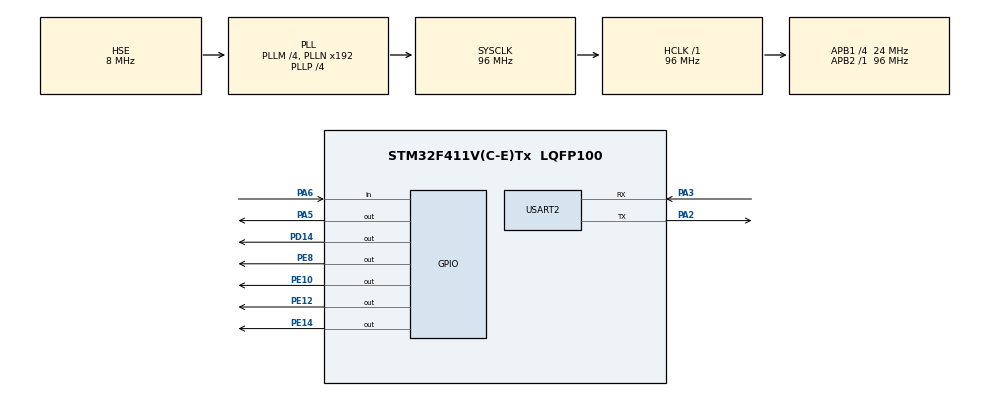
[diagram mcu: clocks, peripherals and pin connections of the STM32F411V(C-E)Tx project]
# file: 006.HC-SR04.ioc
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Mcu.Family=STM32F4
Mcu.Name=STM32F411V(C-E)Tx
Mcu.Package=LQFP100
NVIC.PriorityGroup=NVIC_PRIORITYGROUP_0
NVIC.USART2_IRQn=true\:0\:0\:false\:false\:true\:true\:true\:true
PA13.Mode=Serial_Wire
PA13.Signal=SYS_JTMS-SWDIO
PA14.Mode=Serial_Wire
PA14.Signal=SYS_JTCK-SWCLK
PA2.Mode=Asynchronous
PA2.Signal=USART2_TX
PA3.Mode=Asynchronous
PA3.Signal=USART2_RX
PA5.Signal=GPIO_Output
PA6.Signal=GPIO_Input
PC14-OSC32_IN.Mode=LSE-External-Oscillator
PC14-OSC32_IN.Signal=RCC_OSC32_IN
PC15-OSC32_OUT.Mode=LSE-External-Oscillator
PC15-OSC32_OUT.Signal=RCC_OSC32_OUT
PD14.Signal=GPIO_Output
PE10.Signal=GPIO_Output
PE12.Signal=GPIO_Output
PE14.Signal=GPIO_Output
PE8.Signal=GPIO_Output
PH0\ -\ OSC_IN.Mode=HSE-External-Oscillator
PH0\ -\ OSC_IN.Signal=RCC_OSC_IN
PH1\ -\ OSC_OUT.Mode=HSE-External-Oscillator
PH1\ -\ OSC_OUT.Signal=RCC_OSC_OUT
ProjectManager.HeapSize=0x200
ProjectManager.StackSize=0x400
ProjectManager.TargetToolchain=STM32CubeIDE
RCC.48MHZClocksFreq_Value=48000000
RCC.AHBFreq_Value=96000000
RCC.APB1CLKDivider=RCC_HCLK_DIV4
RCC.APB1Freq_Value=24000000
RCC.APB1TimFreq_Value=48000000
RCC.APB2Freq_Value=96000000
RCC.APB2TimFreq_Value=96000000
RCC.CortexFreq_Value=96000000
RCC.HCLKFreq_Value=96000000
RCC.HSE_VALUE=8000000
RCC.HSI_VALUE=16000000
RCC.PLLI2SM=5
RCC.PLLI2SN=200
RCC.PLLM=4
RCC.PLLP=RCC_PLLP_DIV4
RCC.PLLQ=8
RCC.PLLSourceVirtual=RCC_PLLSOURCE_HSE
RCC.SYSCLKFreq_VALUE=96000000
RCC.SYSCLKSource=RCC_SYSCLKSOURCE_PLLCLK
RCC.VCOOutputFreq_Value=384000000
TIM2.Period=65535
TIM2.Prescaler=83
USART2.VirtualMode=VM_ASYNC
VP_TIM2_VS_ClockSourceINT.Mode=Internal
board=STM32F411E-DISCO

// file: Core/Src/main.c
/* USER CODE BEGIN Header */
/**
  ******************************************************************************
  * @file           : main.c
  * @brief          : Main program body
  ******************************************************************************
  * @attention
  *
  * Copyright (c) 2025 STMicroelectronics.
  * All rights reserved.
  *
  * This software is licensed under terms that can be found in the LICENSE file
  * in the root directory of this software component.
  * If no LICENSE file comes with this software, it is provided AS-IS.
  *
  ******************************************************************************
  */
/* USER CODE END Header */
#include "main.h"

/* USER CODE BEGIN Includes */
#include "stm32f4xx_hal.h"
#include <stdio.h>
#include <string.h>
/* USER CODE END Includes */

/* USER CODE BEGIN PD */
#define TRIG_PIN GPIO_PIN_5
#define TRIG_PORT GPIOA

#define ECHO_PIN GPIO_PIN_6
#define ECHO_PORT GPIOA

#define LED_PIN GPIO_PIN_14
#define LED_PORT GPIOE

#define LED_PIN1 GPIO_PIN_12
#define LED_PORT GPIOE

#define LED_PIN2 GPIO_PIN_8
#define LED_PORT GPIOE

#define LED_PIN3 GPIO_PIN_10
#define LED_PORT GPIOE

#define BUZZER_PIN GPIO_PIN_14
#define BUZZER_PORT GPIOD
/* USER CODE END PD */

TIM_HandleTypeDef htim2;

UART_HandleTypeDef huart2;

void SystemClock_Config(void);
static void MX_GPIO_Init(void);
static void MX_TIM2_Init(void);
static void MX_USART2_UART_Init(void);
/* USER CODE BEGIN PFP */
float HCSR04_Read();
/* USER CODE END PFP */

int main(void)
{

  /* MCU Configuration--------------------------------------------------------*/

  /* Reset of all peripherals, Initializes the Flash interface and the Systick. */
  HAL_Init();

  /* Configure the system clock */
  SystemClock_Config();

  /* Initialize all configured peripherals */
  MX_GPIO_Init();
  MX_TIM2_Init();
  MX_USART2_UART_Init();
  /* USER CODE BEGIN 2 */
  HAL_TIM_Base_Start(&htim2);
  /* USER CODE END 2 */

  /* Infinite loop */
  while (1)
  {
	  float distance = HCSR04_Read();

	  	  	  // Tüm LED'leri kapat
	  	  	  HAL_GPIO_WritePin(LED_PORT, LED_PIN, GPIO_PIN_RESET);
	  	  	  HAL_GPIO_WritePin(LED_PORT, LED_PIN1, GPIO_PIN_RESET);
	  	  	  HAL_GPIO_WritePin(LED_PORT, LED_PIN2, GPIO_PIN_RESET);
	  	  	  HAL_GPIO_WritePin(LED_PORT, LED_PIN3, GPIO_PIN_RESET);
	  	  	  HAL_GPIO_WritePin(BUZZER_PORT, BUZZER_PIN, GPIO_PIN_RESET);

	  	  	  // Kademeli olarak yak
	  	  	  if (distance > 15.0 && distance <= 20.0) {
	  	  	      HAL_GPIO_WritePin(LED_PORT, LED_PIN, GPIO_PIN_SET); // 1. LED
	  	  	  }

	  	  	  if (distance > 10.0 && distance <= 15.0) {
	  	  	      HAL_GPIO_WritePin(LED_PORT, LED_PIN, GPIO_PIN_SET);     // 1
	  	  	      HAL_GPIO_WritePin(LED_PORT, LED_PIN1, GPIO_PIN_SET);    // 2
	  	  	  }

	  	  	  if (distance > 5.0 && distance <= 10.0) {
	  	  	      HAL_GPIO_WritePin(LED_PORT, LED_PIN, GPIO_PIN_SET);     // 1
	  	  	      HAL_GPIO_WritePin(LED_PORT, LED_PIN1, GPIO_PIN_SET);    // 2
	  	  	      HAL_GPIO_WritePin(LED_PORT, LED_PIN2, GPIO_PIN_SET);    // 3
	  	  	  }

	  	  	  if (distance <= 5.0) {
	  	  	      HAL_GPIO_WritePin(LED_PORT, LED_PIN, GPIO_PIN_SET);     // 1
	  	  	      HAL_GPIO_WritePin(LED_PORT, LED_PIN1, GPIO_PIN_SET);    // 2
	  	  	      HAL_GPIO_WritePin(LED_PORT, LED_PIN2, GPIO_PIN_SET);    // 3
	  	  	      HAL_GPIO_WritePin(LED_PORT, LED_PIN3, GPIO_PIN_SET);    // 4
	  	  	      HAL_GPIO_WritePin(BUZZER_PORT, BUZZER_PIN, GPIO_PIN_SET);
	  	  	  }

	  	  	  HAL_Delay(100);
	  	  	char uartBuffer[50];
	  	  	int pwm_value = (int)(distance * 10); // örnek hesaplama

	  	  	// uartBuffer içine formatlı metni yazıyoruz
	  	  	sprintf(uartBuffer, "MESAFE:%d|PWM:%d\n", (int)distance, pwm_value);

	  	  	// UART ile bilgisayara gönderiyoruz
	  	  	HAL_UART_Transmit(&huart2, (uint8_t*)uartBuffer, strlen(uartBuffer), HAL_MAX_DELAY);

  }
}

void SystemClock_Config(void)
{
  RCC_OscInitTypeDef RCC_OscInitStruct = {0};
  RCC_ClkInitTypeDef RCC_ClkInitStruct = {0};

  /** Configure the main internal regulator output voltage
  */
  __HAL_RCC_PWR_CLK_ENABLE();
  __HAL_PWR_VOLTAGESCALING_CONFIG(PWR_REGULATOR_VOLTAGE_SCALE1);

  /** Initializes the RCC Oscillators according to the specified parameters
  * in the RCC_OscInitTypeDef structure.
  */
  RCC_OscInitStruct.OscillatorType = RCC_OSCILLATORTYPE_HSE;
  RCC_OscInitStruct.HSEState = RCC_HSE_ON;
  RCC_OscInitStruct.PLL.PLLState = RCC_PLL_ON;
  RCC_OscInitStruct.PLL.PLLSource = RCC_PLLSOURCE_HSE;
  RCC_OscInitStruct.PLL.PLLM = 4;
  RCC_OscInitStruct.PLL.PLLN = 192;
  RCC_OscInitStruct.PLL.PLLP = RCC_PLLP_DIV4;
  RCC_OscInitStruct.PLL.PLLQ = 8;
  if (HAL_RCC_OscConfig(&RCC_OscInitStruct) != HAL_OK)
  {
    Error_Handler();
  }

  /** Initializes the CPU, AHB and APB buses clocks
  */
  RCC_ClkInitStruct.ClockType = RCC_CLOCKTYPE_HCLK|RCC_CLOCKTYPE_SYSCLK
                              |RCC_CLOCKTYPE_PCLK1|RCC_CLOCKTYPE_PCLK2;
  RCC_ClkInitStruct.SYSCLKSource = RCC_SYSCLKSOURCE_PLLCLK;
  RCC_ClkInitStruct.AHBCLKDivider = RCC_SYSCLK_DIV1;
  RCC_ClkInitStruct.APB1CLKDivider = RCC_HCLK_DIV4;
  RCC_ClkInitStruct.APB2CLKDivider = RCC_HCLK_DIV1;

  if (HAL_RCC_ClockConfig(&RCC_ClkInitStruct, FLASH_LATENCY_3) != HAL_OK)
  {
    Error_Handler();
  }
}

static void MX_TIM2_Init(void)
{

  TIM_ClockConfigTypeDef sClockSourceConfig = {0};
  TIM_MasterConfigTypeDef sMasterConfig = {0};

  htim2.Instance = TIM2;
  htim2.Init.Prescaler = 83;
  htim2.Init.CounterMode = TIM_COUNTERMODE_UP;
  htim2.Init.Period = 65535;
  htim2.Init.ClockDivision = TIM_CLOCKDIVISION_DIV1;
  htim2.Init.AutoReloadPreload = TIM_AUTORELOAD_PRELOAD_DISABLE;
  if (HAL_TIM_Base_Init(&htim2) != HAL_OK)
  {
    Error_Handler();
  }
  sClockSourceConfig.ClockSource = TIM_CLOCKSOURCE_INTERNAL;
  if (HAL_TIM_ConfigClockSource(&htim2, &sClockSourceConfig) != HAL_OK)
  {
    Error_Handler();
  }
  sMasterConfig.MasterOutputTrigger = TIM_TRGO_RESET;
  sMasterConfig.MasterSlaveMode = TIM_MASTERSLAVEMODE_DISABLE;
  if (HAL_TIMEx_MasterConfigSynchronization(&htim2, &sMasterConfig) != HAL_OK)
  {
    Error_Handler();
  }

}

static void MX_USART2_UART_Init(void)
{

  huart2.Instance = USART2;
  huart2.Init.BaudRate = 115200;
  huart2.Init.WordLength = UART_WORDLENGTH_8B;
  huart2.Init.StopBits = UART_STOPBITS_1;
  huart2.Init.Parity = UART_PARITY_NONE;
  huart2.Init.Mode = UART_MODE_TX_RX;
  huart2.Init.HwFlowCtl = UART_HWCONTROL_NONE;
  huart2.Init.OverSampling = UART_OVERSAMPLING_16;
  if (HAL_UART_Init(&huart2) != HAL_OK)
  {
    Error_Handler();
  }

}

static void MX_GPIO_Init(void)
{
  GPIO_InitTypeDef GPIO_InitStruct = {0};

  /* GPIO Ports Clock Enable */
  __HAL_RCC_GPIOC_CLK_ENABLE();
  __HAL_RCC_GPIOH_CLK_ENABLE();
  __HAL_RCC_GPIOA_CLK_ENABLE();
  __HAL_RCC_GPIOE_CLK_ENABLE();
  __HAL_RCC_GPIOD_CLK_ENABLE();

  /*Configure GPIO pin Output Level */
  HAL_GPIO_WritePin(GPIOA, GPIO_PIN_5, GPIO_PIN_RESET);

  /*Configure GPIO pin Output Level */
  HAL_GPIO_WritePin(GPIOE, GPIO_PIN_8|GPIO_PIN_10|GPIO_PIN_12|GPIO_PIN_14, GPIO_PIN_RESET);

  /*Configure GPIO pin Output Level */
  HAL_GPIO_WritePin(GPIOD, GPIO_PIN_14, GPIO_PIN_RESET);

  /*Configure GPIO pin : PA5 */
  GPIO_InitStruct.Pin = GPIO_PIN_5;
  GPIO_InitStruct.Mode = GPIO_MODE_OUTPUT_PP;
  GPIO_InitStruct.Pull = GPIO_NOPULL;
  GPIO_InitStruct.Speed = GPIO_SPEED_FREQ_LOW;
  HAL_GPIO_Init(GPIOA, &GPIO_InitStruct);

  /*Configure GPIO pin : PA6 */
  GPIO_InitStruct.Pin = GPIO_PIN_6;
  GPIO_InitStruct.Mode = GPIO_MODE_INPUT;
  GPIO_InitStruct.Pull = GPIO_NOPULL;
  HAL_GPIO_Init(GPIOA, &GPIO_InitStruct);

  /*Configure GPIO pins : PE8 PE10 PE12 PE14 */
  GPIO_InitStruct.Pin = GPIO_PIN_8|GPIO_PIN_10|GPIO_PIN_12|GPIO_PIN_14;
  GPIO_InitStruct.Mode = GPIO_MODE_OUTPUT_PP;
  GPIO_InitStruct.Pull = GPIO_NOPULL;
  GPIO_InitStruct.Speed = GPIO_SPEED_FREQ_LOW;
  HAL_GPIO_Init(GPIOE, &GPIO_InitStruct);

  /*Configure GPIO pin : PD14 */
  GPIO_InitStruct.Pin = GPIO_PIN_14;
  GPIO_InitStruct.Mode = GPIO_MODE_OUTPUT_PP;
  GPIO_InitStruct.Pull = GPIO_NOPULL;
  GPIO_InitStruct.Speed = GPIO_SPEED_FREQ_LOW;
  HAL_GPIO_Init(GPIOD, &GPIO_InitStruct);

}

/* USER CODE BEGIN 4 */
void delay_us(uint16_t us)
{
    __HAL_TIM_SET_COUNTER(&htim2, 0);
    while (__HAL_TIM_GET_COUNTER(&htim2) < us);
}

float HCSR04_Read()
{
    uint32_t startTime = 0, endTime = 0;
    float distance = 0;

    // TRIG LOW
    HAL_GPIO_WritePin(TRIG_PORT, TRIG_PIN, GPIO_PIN_RESET);
    delay_us(2);

    // TRIG HIGH for 10us
    HAL_GPIO_WritePin(TRIG_PORT, TRIG_PIN, GPIO_PIN_SET);
    delay_us(10);
    HAL_GPIO_WritePin(TRIG_PORT, TRIG_PIN, GPIO_PIN_RESET);

    // ECHO HIGH olmasını bekle
    while(HAL_GPIO_ReadPin(ECHO_PORT, ECHO_PIN) == GPIO_PIN_RESET);

    startTime = __HAL_TIM_GET_COUNTER(&htim2);

    // ECHO LOW olmasını bekle
    while(HAL_GPIO_ReadPin(ECHO_PORT, ECHO_PIN) == GPIO_PIN_SET);

    endTime = __HAL_TIM_GET_COUNTER(&htim2);

    uint32_t duration;
    if (endTime >= startTime)
        duration = endTime - startTime;
    else
        duration = (0xFFFF - startTime) + endTime; // taşma durumu için
    distance = duration / 58.0; // cm

    return distance;
}

/* USER CODE END 4 */

void Error_Handler(void)
{
  __disable_irq();
  while (1)
  {
  }
}
